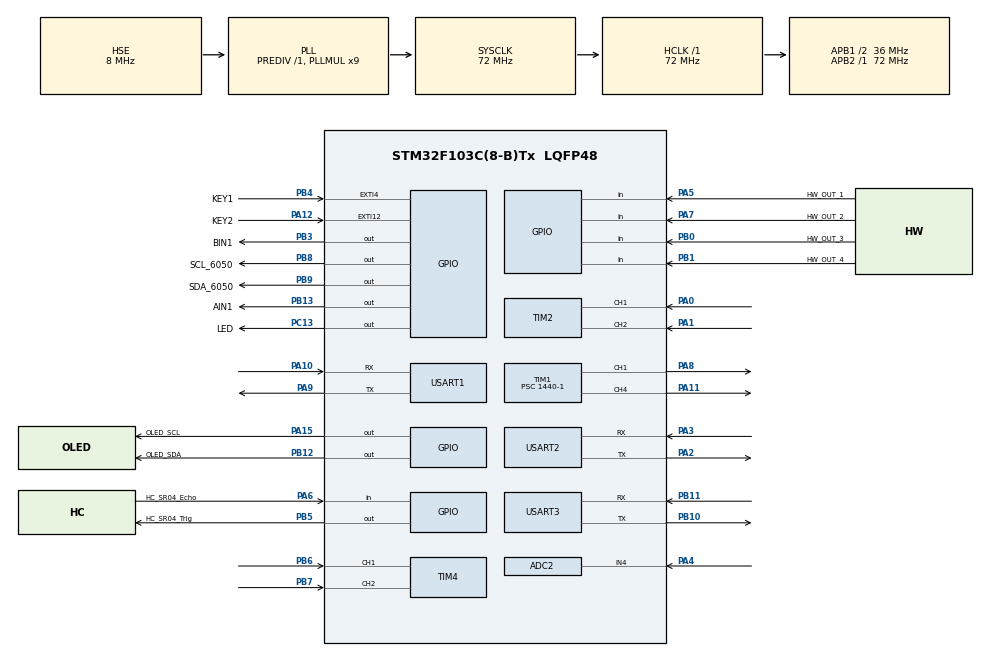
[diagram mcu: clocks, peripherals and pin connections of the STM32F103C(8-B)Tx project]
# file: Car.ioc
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ADC2.Channel-0\#ChannelRegularConversion=ADC_CHANNEL_4
ADC2.NbrOfConversionFlag=1
ADC2.Rank-0\#ChannelRegularConversion=1
ADC2.SamplingTime-0\#ChannelRegularConversion=ADC_SAMPLETIME_13CYCLES_5
Mcu.Family=STM32F1
Mcu.Name=STM32F103C(8-B)Tx
Mcu.Package=LQFP48
NVIC.EXTI15_10_IRQn=true\:2\:0\:true\:false\:true\:true\:true\:true
NVIC.EXTI4_IRQn=true\:2\:0\:true\:false\:true\:true\:true\:true
NVIC.PriorityGroup=NVIC_PRIORITYGROUP_4
NVIC.TIM1_UP_IRQn=true\:0\:0\:false\:false\:true\:true\:true\:true
NVIC.TIM2_IRQn=true\:0\:0\:false\:false\:true\:true\:true\:true
NVIC.TIM4_IRQn=true\:0\:0\:false\:false\:true\:true\:true\:true
NVIC.USART1_IRQn=true\:0\:0\:false\:false\:true\:true\:true\:true
NVIC.USART2_IRQn=true\:0\:0\:false\:false\:true\:true\:true\:true
NVIC.USART3_IRQn=true\:0\:0\:false\:false\:true\:true\:true\:true
PA0-WKUP.GPIO_PuPd=GPIO_PULLUP
PA0-WKUP.Signal=S_TIM2_CH1_ETR
PA1.GPIO_PuPd=GPIO_PULLUP
PA1.Signal=S_TIM2_CH2
PA10.Mode=Asynchronous
PA10.Signal=USART1_RX
PA11.Signal=S_TIM1_CH4
PA12.GPIO_Label=KEY2
PA12.GPIO_ModeDefaultEXTI=GPIO_MODE_IT_FALLING
PA12.GPIO_PuPd=GPIO_PULLUP
PA12.Signal=GPXTI12
PA13.Mode=Serial_Wire
PA13.Signal=SYS_JTMS-SWDIO
PA14.Mode=Serial_Wire
PA14.Signal=SYS_JTCK-SWCLK
PA15.GPIO_Label=OLED_SCL
PA15.GPIO_PuPd=GPIO_PULLUP
PA15.PinState=GPIO_PIN_SET
PA15.Signal=GPIO_Output
PA2.Mode=Asynchronous
PA2.Signal=USART2_TX
PA3.Mode=Asynchronous
PA3.Signal=USART2_RX
PA4.Signal=ADCx_IN4
PA5.GPIO_Label=HW_OUT_1
PA5.Signal=GPIO_Input
PA6.GPIO_Label=HC_SR04_Echo
PA6.Signal=GPIO_Input
PA7.GPIO_Label=HW_OUT_2
PA7.Signal=GPIO_Input
PA8.Signal=S_TIM1_CH1
PA9.Mode=Asynchronous
PA9.Signal=USART1_TX
PB0.GPIO_Label=HW_OUT_3
PB0.Signal=GPIO_Input
PB1.GPIO_Label=HW_OUT_4
PB1.Signal=GPIO_Input
PB10.Mode=Asynchronous
PB10.Signal=USART3_TX
PB11.Mode=Asynchronous
PB11.Signal=USART3_RX
PB12.GPIO_Label=OLED_SDA
PB12.GPIO_PuPd=GPIO_PULLUP
PB12.PinState=GPIO_PIN_SET
PB12.Signal=GPIO_Output
PB13.GPIO_Label=AIN1
PB13.Signal=GPIO_Output
PB3.GPIO_Label=BIN1
PB3.Signal=GPIO_Output
PB4.GPIO_Label=KEY1
PB4.GPIO_PuPd=GPIO_PULLDOWN
PB4.Signal=GPXTI4
PB5.GPIO_Label=HC_SR04_Trig
PB5.Signal=GPIO_Output
PB6.GPIO_PuPd=GPIO_PULLUP
PB6.Signal=S_TIM4_CH1
PB7.GPIO_PuPd=GPIO_PULLUP
PB7.Signal=S_TIM4_CH2
PB8.GPIO_Label=SCL_6050
PB8.PinState=GPIO_PIN_SET
PB8.Signal=GPIO_Output
PB9.GPIO_Label=SDA_6050
PB9.PinState=GPIO_PIN_SET
PB9.Signal=GPIO_Output
PC13-TAMPER-RTC.GPIO_Label=LED
PC13-TAMPER-RTC.Signal=GPIO_Output
PD0-OSC_IN.Mode=HSE-External-Oscillator
PD0-OSC_IN.Signal=RCC_OSC_IN
PD1-OSC_OUT.Mode=HSE-External-Oscillator
PD1-OSC_OUT.Signal=RCC_OSC_OUT
ProjectManager.HeapSize=0x800
ProjectManager.StackSize=0x800
ProjectManager.TargetToolchain=MDK-ARM V5.32
RCC.ADCPresc=RCC_ADCPCLK2_DIV6
RCC.AHBFreq_Value=72000000
RCC.APB1CLKDivider=RCC_HCLK_DIV2
RCC.APB1Freq_Value=36000000
RCC.APB1TimFreq_Value=72000000
RCC.APB2Freq_Value=72000000
RCC.APB2TimFreq_Value=72000000
RCC.HCLKFreq_Value=72000000
RCC.PLLMUL=RCC_PLL_MUL9
RCC.PLLSourceVirtual=RCC_PLLSOURCE_HSE
RCC.SYSCLKFreq_VALUE=72000000
RCC.SYSCLKSource=RCC_SYSCLKSOURCE_PLLCLK
RCC.USBFreq_Value=72000000
SH.ADCx_IN4.0=ADC2_IN4,IN4
SH.S_TIM1_CH1.0=TIM1_CH1,PWM Generation1 CH1
SH.S_TIM1_CH4.0=TIM1_CH4,PWM Generation4 CH4
SH.S_TIM2_CH1_ETR.0=TIM2_CH1,Encoder_Interface
SH.S_TIM2_CH2.0=TIM2_CH2,Encoder_Interface
SH.S_TIM4_CH1.0=TIM4_CH1,Encoder_Interface
SH.S_TIM4_CH2.0=TIM4_CH2,Encoder_Interface
TIM1.AutoReloadPreload=TIM_AUTORELOAD_PRELOAD_ENABLE
TIM1.Channel-PWM\ Generation1\ CH1=TIM_CHANNEL_1
TIM1.Channel-PWM\ Generation4\ CH4=TIM_CHANNEL_4
TIM1.Period=100-1
TIM1.Prescaler=1440-1
TIM1.Pulse-PWM\ Generation1\ CH1=50
TIM1.Pulse-PWM\ Generation4\ CH4=50
TIM2.CounterMode=TIM_COUNTERMODE_UP
TIM2.EncoderMode=TIM_ENCODERMODE_TI12
TIM2.IC1Filter=6
TIM2.IC1Polarity=TIM_ICPOLARITY_RISING
TIM2.IC2Filter=6
TIM2.IC2Polarity=TIM_ICPOLARITY_RISING
TIM4.EncoderMode=TIM_ENCODERMODE_TI12
TIM4.IC1Filter=6
TIM4.IC2Filter=6
USART1.VirtualMode=VM_ASYNC
USART2.VirtualMode=VM_ASYNC
USART3.VirtualMode=VM_ASYNC
VP_TIM1_VS_ClockSourceINT.Mode=Internal
board=custom

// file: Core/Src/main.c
/* USER CODE BEGIN Header */
/**
  ******************************************************************************
  * @file           : main.c
  * @brief          : Main program body
  ******************************************************************************
  * @attention
  *
  * Copyright (c) 2024 STMicroelectronics.
  * All rights reserved.
  *
  * This software is licensed under terms that can be found in the LICENSE file
  * in the root directory of this software component.
  * If no LICENSE file comes with this software, it is provided AS-IS.
  *
  ******************************************************************************
  */
/* USER CODE END Header */
#include "main.h"
#include "adc.h"
#include "tim.h"
#include "usart.h"
#include "gpio.h"

/* USER CODE BEGIN Includes */
#include "oled.h"
#include "motor.h"
#include "niming.h"
#include "pid.h"
#include "cJSON.h"
#include <string.h>
#include <stdio.h>
#include "HC_SR04.h"

#include "mpu6050.h"
#include "inv_mpu.h"
#include "inv_mpu_dmp_motion_driver.h"
/* USER CODE END Includes */

/* USER CODE BEGIN PM */
cJSON *cJsonData ,*cJsonVlaue;	//上位机需要的参数
float p,i,d,a,b;				//发�?�到上位机的pid参数
extern float Mileage;			//里程
uint8_t OLEDString[50];			//OLED显示的字符串
uint8_t Usart3String[50];		//串口3显示的字符串
uint8_t g_ucaHW_Read[4] = {0};	//保存红外对管电平的数�?
int8_t g_cThisState = 0;		//这次状�??
int8_t g_cLastState = 0; 		//上次状�??
float g_fHW_PID_Out;			//红外对管PID计算输出速度
float g_fHW_PID_Out1;			//电机1的最后循迹PID控制速度
float g_fHW_PID_Out2;			//电机2的最后循迹PID控制速度
float g_fHC_SR04_Read;			//跟随功能实际距离
float g_fFollow_PID_Out;		//跟随功能应设速度
uint8_t g_ucUsart3ReceiveData;  //保存串口三接收的数据
uint8_t g_ucUsart2ReceiveData;  //保存串口二接收的数据
extern int g_lHW_State;//帮助视觉调试 用于表示红外对管或者视觉摄像头识别状态
uint8_t Car_Mode = 0;			//模式

float pitch,roll,yaw; //俯仰�? 翻滚�? 航向�?
float  g_fMPU6050YawMovePidOut = 0.00f; //姿�?�PID运算输出
float  g_fMPU6050YawMovePidOut1 = 0.00f; //第一个电机控制输�?
float  g_fMPU6050YawMovePidOut2 = 0.00f; //第一个电机控制输�?
/* USER CODE END PM */

void SystemClock_Config(void);

int main(void)
{

  /* MCU Configuration--------------------------------------------------------*/

  /* Reset of all peripherals, Initializes the Flash interface and the Systick. */
  HAL_Init();

  /* Configure the system clock */
  SystemClock_Config();

  /* Initialize all configured peripherals */
  MX_GPIO_Init();
  MX_USART1_UART_Init();
  MX_TIM1_Init();
  MX_TIM2_Init();
  MX_TIM4_Init();
  MX_ADC2_Init();
  MX_USART3_UART_Init();
  MX_USART2_UART_Init();
  /* USER CODE BEGIN 2 */
	OLED_Init();
	OLED_Clear();
	PID_Init();

	HAL_Delay(500);//延时0.5�? 6050上电稳定后初始化
	MPU_Init();//初始化MPU6050
	while(MPU_Init()!=0);
	while(mpu_dmp_init()!=0);

	HAL_TIM_PWM_Start(&htim1,TIM_CHANNEL_1);//�?启定时器1 通道1 PWM输出
	HAL_TIM_PWM_Start(&htim1,TIM_CHANNEL_4);//�?启定时器1 通道4 PWM输出
	HAL_TIM_Encoder_Start(&htim2,TIM_CHANNEL_ALL);	//�?启定时器2
	HAL_TIM_Encoder_Start(&htim4,TIM_CHANNEL_ALL);	//�?启定时器4
	HAL_TIM_Base_Start_IT(&htim2);					//�?启定时器2 中断
	HAL_TIM_Base_Start_IT(&htim4);                	//�?启定时器4 中断
	HAL_TIM_Base_Start_IT(&htim1);                //�?启定时器1 中断
	__HAL_UART_ENABLE_IT(&huart1,UART_IT_RXNE);	//�?启串�?1接收中断
	HAL_UART_Receive_IT(&huart3,&g_ucUsart3ReceiveData,1);  //串口三接收数�?
	HAL_UART_Receive_IT(&huart2,&g_ucUsart2ReceiveData,1);  //串口三接收数捿
	__HAL_UART_ENABLE_IT(&huart2, UART_IT_ERR);// 启用UART2的错误中断功能

  /* USER CODE END 2 */

  /* Infinite loop */
  while (1)
  {

    /* USER CODE BEGIN 3 */

/**************************固定显示当前模式*****************************************************/
	sprintf((char *)OLEDString,"Mode:%d",Car_Mode);//模式
	OLED_ShowString(0,7,OLEDString,12);

	HAL_UART_Transmit(&huart3,( uint8_t *)Usart3String,strlen(( const  char *)Usart3String),50);//阻塞式发送鿚过串口三输出字笿 strlen:计算字符串大�?
	sprintf((char *)Usart3String,"Mode:%d\r\n",Car_Mode);//显示当前模式
/**************************固定显示当前模式*****************************************************/

	if (Car_Mode == 0){
		Motor_SetSpeed(0,0);
/**************************OLED显示信息*****************************************************/
		sprintf((char *)OLEDString,"v1:%.2f v2:%.2f",Motor1_Speed,Motor2_Speed);//字符串格式化，两电机速度
		OLED_ShowString(0,0,OLEDString,12);
		sprintf((char *)OLEDString,"Mileage:%.2f",Mileage);//里程
		OLED_ShowString(0,1,OLEDString,12);
		sprintf((char *)OLEDString,"Battery:%.2fV",adcGetBatteryVoltage());//电池电压
		OLED_ShowString(0,2,OLEDString,12);
		sprintf((char *)OLEDString,"HC_SR04:%.2fcm\r\n",HC_SR04_Read());//障碍物距�?
		OLED_ShowString(0,3,OLEDString,12);
		sprintf((char *)OLEDString,"p:%.2f r:%.2f \r\n",pitch,roll);//俯仰�? 翻滚�?
		OLED_ShowString(0,4,OLEDString,12);
		sprintf((char *)OLEDString,"y:%.2f  \r\n",yaw);//航向�?
		OLED_ShowString(0,5,OLEDString,12);
/**************************OLED显示信息*****************************************************/

/**************************串口3/蓝牙显示信息*****************************************************/
		sprintf((char *)Usart3String,"v1:%.2fv2:%.2f\r\n",Motor1_Speed,Motor2_Speed);//显示两个电机转鿿 单位：转/�?
		HAL_UART_Transmit(&huart3,( uint8_t *)Usart3String,strlen(( const  char *)Usart3String),50);//阻塞式发送鿚过串口三输出字笿 strlen:计算字符串大�?
		sprintf((char *)Usart3String,"Mileage%.2fcm\r\n",Mileage);//计算小车里程 单位cm
		HAL_UART_Transmit(&huart3,( uint8_t *)Usart3String,strlen(( const  char *)Usart3String),50);//阻塞式发送鿚过串口三输出字笿 strlen:计算字符串大�?
		sprintf((char *)Usart3String,"Battery:%.2fV\r\n",adcGetBatteryVoltage());//显示电池电压
		HAL_UART_Transmit(&huart3,( uint8_t *)Usart3String,strlen(( const  char *)Usart3String),50);//阻塞式发送鿚过串口三输出字笿 strlen:计算字符串大�?
		sprintf((char *)Usart3String,"HC_SR04:%.2fcm\r\n",HC_SR04_Read());//显示超声波数�?
		HAL_UART_Transmit(&huart3,( uint8_t *)Usart3String,strlen(( const  char *)Usart3String),50);//通过串口三输出字�? strlen:计算字符串大�?

		while(mpu_dmp_get_data(&pitch,&roll,&yaw)!=0);  //这个可以解决经常读不出数据的问题
		sprintf((char *)Usart3String,"pitch:%.2f roll:%.2f yaw:%.2f\r\n",pitch,roll,yaw);//显示6050数据
		HAL_UART_Transmit(&huart3,( uint8_t *)Usart3String,strlen(( const  char *)Usart3String),50);//通过串口三输出字�? strlen:计算字符串大�?
/**************************串口3/蓝牙显示信息*****************************************************/
	}

	if (Car_Mode == 1){
/**************************红外循迹功能*****************************************************/
		g_ucaHW_Read[0] = READ_HW_OUT_1;//读取红外对管状�?��?�这样相比于写在if里面更高�?
		g_ucaHW_Read[1] = READ_HW_OUT_2;
		g_ucaHW_Read[2] = READ_HW_OUT_3;
		g_ucaHW_Read[3] = READ_HW_OUT_4;

		if(g_ucaHW_Read[0] == 0&&g_ucaHW_Read[1] == 0&&g_ucaHW_Read[2] == 0&&g_ucaHW_Read[3] == 0 )
		{
			g_cThisState = 0;//直行
		}
		else if(g_ucaHW_Read[0] == 0&&g_ucaHW_Read[1] == 1&&g_ucaHW_Read[2] == 0&&g_ucaHW_Read[3] == 0 )
		{
			g_cThisState = -1;//应该右偏
		}
		else if(g_ucaHW_Read[0] == 1&&g_ucaHW_Read[1] == 0&&g_ucaHW_Read[2] == 0&&g_ucaHW_Read[3] == 0 )
		{
			g_cThisState = -2;//快�?�右�?
		}
		else if(g_ucaHW_Read[0] == 1&&g_ucaHW_Read[1] == 1&&g_ucaHW_Read[2] == 0&&g_ucaHW_Read[3] == 0 )
		{
			g_cThisState = -3;//右转�?
		}
		else if(g_ucaHW_Read[0] == 0&&g_ucaHW_Read[1] == 0&&g_ucaHW_Read[2] == 1&&g_ucaHW_Read[3] == 0 )
		{
			g_cThisState = 1;//应该左偏
		}
		else if(g_ucaHW_Read[0] == 0&&g_ucaHW_Read[1] == 0&&g_ucaHW_Read[2] == 0&&g_ucaHW_Read[3] == 1 )
		{
			g_cThisState = 2;//快�?�左�?
		}
		else if(g_ucaHW_Read[0] == 0&&g_ucaHW_Read[1] == 0&&g_ucaHW_Read[2] == 1&&g_ucaHW_Read[3] == 1 )
		{
			g_cThisState = 3;//左转�?
		}
		g_fHW_PID_Out = PID_Realize(&pidHW_Tracking,g_cThisState);//PID计算输出目标速度 这个速度，会和基�?速度加减

		g_fHW_PID_Out1 = 3 + g_fHW_PID_Out;//电机1速度=基础速度+循迹PID输出速度
		g_fHW_PID_Out2 = 3 - g_fHW_PID_Out;//电机2速度=基础速度-循迹PID输出速度，因为负值右转正值左�?
		if(g_fHW_PID_Out1 > 5) g_fHW_PID_Out1 = 5;//进行限幅 限幅速度�?0-5之间
		if(g_fHW_PID_Out1 < 0) g_fHW_PID_Out1 = 0;
		if(g_fHW_PID_Out2 > 5) g_fHW_PID_Out2 = 5;
		if(g_fHW_PID_Out2 < 0) g_fHW_PID_Out2 = 0;
		if(g_cThisState != g_cLastState)//如果这次状�?�不等于上次状�?��?�就进行改变目标速度和控制电机�?�在定时器中依旧定时控制电机
		{
			Motor_SetSpeed(g_fHW_PID_Out1,g_fHW_PID_Out2);//通过计算的�?�度控制电机
		}

		g_cLastState = g_cThisState;//保存上次红外对管状�??
/**************************红外循迹功能*****************************************************/
	}

	if (Car_Mode == 2){
/****************************遥控模式*****************************************************/
					/*在stm32f1xx_it.c中执�?*/
/****************************遥控模式*****************************************************/
	}

	if (Car_Mode == 3){
/****************************避障功能*****************************************************/
		if (HC_SR04_Read() > 25){//若障碍物大于25cm，直�?100ms
			Motor_SetSpeed(1,1);
			HAL_Delay(100);
		}
		else {//否则，右�?400ms
			Motor_SetSpeed(-1,1);
			HAL_Delay(400);
			if (HC_SR04_Read() > 25){//若障碍物大于25cm，直�?100ms
				Motor_SetSpeed(1,1);
				HAL_Delay(100);
			}
			else {//否则，左�?800ms
				Motor_SetSpeed(1,-1);
				HAL_Delay(800);
				if (HC_SR04_Read() > 25){//若障碍物大于25cm，直�?100ms
					Motor_SetSpeed(1,1);
					HAL_Delay(100);
				}
				else {//否则，后�?1000ms，再右转200ms
					Motor_SetSpeed(-1,-1);
					HAL_Delay(1000);
					Motor_SetSpeed(-1,1);
					HAL_Delay(200);
				}
			}
		}
/****************************避障功能*****************************************************/
	}

	if (Car_Mode == 4){
/****************************跟随功能*****************************************************/
		g_fHC_SR04_Read = HC_SR04_Read();//读取当前距离

		if (g_fHC_SR04_Read < 60){//有跟随物�?
			g_fFollow_PID_Out = PID_Realize(&pidFollow,g_fHC_SR04_Read);//PID运算
			if (g_fFollow_PID_Out > 5){g_fFollow_PID_Out = 5;}//限幅
			if (g_fFollow_PID_Out < -5){g_fFollow_PID_Out = -5;}
			if (g_fFollow_PID_Out < 1.5 && g_fFollow_PID_Out > -1.5){g_fFollow_PID_Out = 0;}
			Motor_SetSpeed(g_fFollow_PID_Out,g_fFollow_PID_Out);
		}
		else {Motor_SetSpeed(0,0);}//无跟随物时停�?
		HAL_Delay(10);
/****************************跟随功能*****************************************************/
	}

	if (Car_Mode == 5){
/***********************MPU6050航向角PID控制*****************************************************/
		while(mpu_dmp_get_data(&pitch,&roll,&yaw)!=0){}  //这个可以解决经常读不出数据的问题

		g_fMPU6050YawMovePidOut = PID_Realize(&pidMPU6050YawMovement,yaw);//PID计算输出目标速度 这个速度，会和基�?速度加减

		g_fMPU6050YawMovePidOut1 = 1.5 + g_fMPU6050YawMovePidOut;//基础速度加减PID输出速度
		g_fMPU6050YawMovePidOut2 = 1.5 - g_fMPU6050YawMovePidOut;
		if(g_fMPU6050YawMovePidOut1 > 3.5) g_fMPU6050YawMovePidOut1 = 3.5;//进行限幅
		if(g_fMPU6050YawMovePidOut1 < 0) g_fMPU6050YawMovePidOut1 = 0;
		if(g_fMPU6050YawMovePidOut2 > 3.5) g_fMPU6050YawMovePidOut2 = 3.5;
		if(g_fMPU6050YawMovePidOut2 < 0) g_fMPU6050YawMovePidOut2 = 0;
		Motor_SetSpeed(g_fMPU6050YawMovePidOut1,g_fMPU6050YawMovePidOut2);
/***********************MPU6050航向角PID控制*****************************************************/
	}

	if(Car_Mode == 6){
		sprintf((char*)OLEDString, "lHW:%d  ", g_lHW_State);//视觉识别结果
		OLED_ShowString(0,6,OLEDString,12);

		g_fHW_PID_Out = PID_Realize(&pidOpenmv_Tracking,g_cThisState);//PID计算输出目标速度 这个速度，会和基础速度加减

		g_fHW_PID_Out1 = 0.5 + g_fHW_PID_Out;//电机1速度=基础速度+循迹PID输出速度
		g_fHW_PID_Out2 = 0.5 - g_fHW_PID_Out;//电机1速度=基础速度-循迹PID输出速度
		if(g_fHW_PID_Out1 >1.2) g_fHW_PID_Out1 =1.2;//进行限幅 限幅速度在0-1.2之间
		if(g_fHW_PID_Out1 <0) g_fHW_PID_Out1 =0;
		if(g_fHW_PID_Out2 >1.2) g_fHW_PID_Out2 =1.2;//进行限幅 限幅速度在0-1.2之间
		if(g_fHW_PID_Out2 <0) g_fHW_PID_Out2 =0;
		if(g_cThisState != g_cLastState)//如何这次状态不等于上次状态、就进行改变目标速度和控制电机、在定时器中依旧定时控制电机
		{
			Motor_SetSpeed(g_fHW_PID_Out1,g_fHW_PID_Out2);//通过计算的速度控制电机
		}

		g_cLastState = g_cThisState;//保存上次红外对管状态
	}

/***************************发�?�上位机******************************************************/
//	ANO_DT_Send_F2(Motor1_Speed*100, 3.0*100,Motor2_Speed*100,3.0*100);	//F2帧发送到上位�?
//	if(Usart_WaitReasFinish() == 0)//是否接收完毕
//	{
//		cJsonData  = cJSON_Parse((const char *)Usart1_ReadBuf);
//		if(cJSON_GetObjectItem(cJsonData,"p") !=NULL)
//		{
//			cJsonVlaue = cJSON_GetObjectItem(cJsonData,"p");
//			p = cJsonVlaue->valuedouble;
//			pidMotor1Speed.Kp = p;
//			pidMotor2Speed.Kp = p;
//		}
//		if(cJSON_GetObjectItem(cJsonData,"i") !=NULL)
//		{
//			cJsonVlaue = cJSON_GetObjectItem(cJsonData,"i");
//			i = cJsonVlaue->valuedouble;
//			pidMotor1Speed.Ki = i;
//			pidMotor2Speed.Ki = i;
//		}
//		if(cJSON_GetObjectItem(cJsonData,"d") !=NULL)
//		{
//			cJsonVlaue = cJSON_GetObjectItem(cJsonData,"d");
//			d = cJsonVlaue->valuedouble;
//			pidMotor1Speed.Kd = d;
//			pidMotor2Speed.Kd = d;
//		}
//		if(cJSON_GetObjectItem(cJsonData,"a") !=NULL)
//		{
//
//			cJsonVlaue = cJSON_GetObjectItem(cJsonData,"a");
//			a = cJsonVlaue->valuedouble;
//			pidMotor1Speed.target_val =a;
//		}
//		if(cJSON_GetObjectItem(cJsonData,"b") !=NULL)
//		{
//
//			cJsonVlaue = cJSON_GetObjectItem(cJsonData,"b");
//			b = cJsonVlaue->valuedouble;
//			pidMotor2Speed.target_val =b;
//		}
//		if(cJsonData != NULL){
//		  cJSON_Delete(cJsonData);//释放空间、但是不能删除cJsonVlaue不然�? 出现异常错误
//		}
//		memset(Usart1_ReadBuf,0,255);//清空接收buf，注意这里不能使用strlen
//	}
//	printf("P:%.1f I:%.1f D:%.1f A:%.1f B:%.1f\r\n",p,i,d,a,b);
/***************************发�?�上位机******************************************************/

  }
  /* USER CODE END 3 */
}

void SystemClock_Config(void)
{
  RCC_OscInitTypeDef RCC_OscInitStruct = {0};
  RCC_ClkInitTypeDef RCC_ClkInitStruct = {0};
  RCC_PeriphCLKInitTypeDef PeriphClkInit = {0};

  /** Initializes the RCC Oscillators according to the specified parameters
  * in the RCC_OscInitTypeDef structure.
  */
  RCC_OscInitStruct.OscillatorType = RCC_OSCILLATORTYPE_HSE;
  RCC_OscInitStruct.HSEState = RCC_HSE_ON;
  RCC_OscInitStruct.HSEPredivValue = RCC_HSE_PREDIV_DIV1;
  RCC_OscInitStruct.HSIState = RCC_HSI_ON;
  RCC_OscInitStruct.PLL.PLLState = RCC_PLL_ON;
  RCC_OscInitStruct.PLL.PLLSource = RCC_PLLSOURCE_HSE;
  RCC_OscInitStruct.PLL.PLLMUL = RCC_PLL_MUL9;
  if (HAL_RCC_OscConfig(&RCC_OscInitStruct) != HAL_OK)
  {
    Error_Handler();
  }

  /** Initializes the CPU, AHB and APB buses clocks
  */
  RCC_ClkInitStruct.ClockType = RCC_CLOCKTYPE_HCLK|RCC_CLOCKTYPE_SYSCLK
                              |RCC_CLOCKTYPE_PCLK1|RCC_CLOCKTYPE_PCLK2;
  RCC_ClkInitStruct.SYSCLKSource = RCC_SYSCLKSOURCE_PLLCLK;
  RCC_ClkInitStruct.AHBCLKDivider = RCC_SYSCLK_DIV1;
  RCC_ClkInitStruct.APB1CLKDivider = RCC_HCLK_DIV2;
  RCC_ClkInitStruct.APB2CLKDivider = RCC_HCLK_DIV1;

  if (HAL_RCC_ClockConfig(&RCC_ClkInitStruct, FLASH_LATENCY_2) != HAL_OK)
  {
    Error_Handler();
  }
  PeriphClkInit.PeriphClockSelection = RCC_PERIPHCLK_ADC;
  PeriphClkInit.AdcClockSelection = RCC_ADCPCLK2_DIV6;
  if (HAL_RCCEx_PeriphCLKConfig(&PeriphClkInit) != HAL_OK)
  {
    Error_Handler();
  }
}

void Error_Handler(void)
{
  __disable_irq();
  while (1)
  {
  }
}
